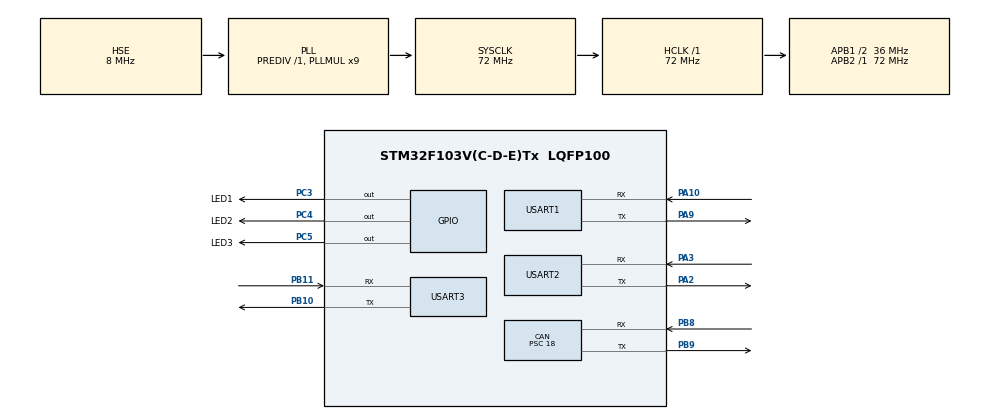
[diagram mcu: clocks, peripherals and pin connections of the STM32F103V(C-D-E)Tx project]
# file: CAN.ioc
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CAN.BS1=CAN_BS1_7TQ
CAN.BS2=CAN_BS2_8TQ
CAN.CalculateTimeBit=8000
CAN.CalculateTimeQuantum=500.0
CAN.Prescaler=18
Dma.Request0=USART2_RX
Dma.USART2_RX.0.Direction=DMA_PERIPH_TO_MEMORY
Dma.USART2_RX.0.Instance=DMA1_Channel6
Dma.USART2_RX.0.MemDataAlignment=DMA_MDATAALIGN_BYTE
Dma.USART2_RX.0.MemInc=DMA_MINC_ENABLE
Dma.USART2_RX.0.Mode=DMA_CIRCULAR
Dma.USART2_RX.0.PeriphDataAlignment=DMA_PDATAALIGN_BYTE
Dma.USART2_RX.0.PeriphInc=DMA_PINC_DISABLE
Dma.USART2_RX.0.Priority=DMA_PRIORITY_LOW
FREERTOS.Tasks01=Task0,0,256,Func_Task0,Default,NULL,Dynamic,NULL,NULL;Task1,0,256,Func_Task1,Default,NULL,Dynamic,NULL,NULL
Mcu.Family=STM32F1
Mcu.Name=STM32F103V(C-D-E)Tx
Mcu.Package=LQFP100
NVIC.DMA1_Channel6_IRQn=true\:5\:0\:false\:true\:true\:4\:true\:false
NVIC.PriorityGroup=NVIC_PRIORITYGROUP_4
NVIC.TIM4_IRQn=true\:0\:0\:false\:false\:true\:false\:false
NVIC.TimeBase=TIM4_IRQn
NVIC.TimeBaseIP=TIM4
NVIC.USART1_IRQn=true\:6\:0\:true\:true\:true\:1\:true\:true
NVIC.USART2_IRQn=true\:5\:0\:true\:true\:true\:2\:true\:true
NVIC.USART3_IRQn=true\:7\:0\:true\:true\:true\:3\:true\:true
NVIC.USB_LP_CAN1_RX0_IRQn=true\:5\:0\:false\:false\:true\:true\:true
OSC_IN.Mode=HSE-External-Oscillator
OSC_IN.Signal=RCC_OSC_IN
OSC_OUT.Mode=HSE-External-Oscillator
OSC_OUT.Signal=RCC_OSC_OUT
PA10.Mode=Asynchronous
PA10.Signal=USART1_RX
PA13.Mode=Serial_Wire
PA13.Signal=SYS_JTMS-SWDIO
PA14.Mode=Serial_Wire
PA14.Signal=SYS_JTCK-SWCLK
PA2.Mode=Asynchronous
PA2.Signal=USART2_TX
PA3.Mode=Asynchronous
PA3.Signal=USART2_RX
PA9.Mode=Asynchronous
PA9.Signal=USART1_TX
PB10.Mode=Asynchronous
PB10.Signal=USART3_TX
PB11.Mode=Asynchronous
PB11.Signal=USART3_RX
PB8.Mode=Master
PB8.Signal=CAN_RX
PB9.Mode=Master
PB9.Signal=CAN_TX
PC3.GPIO_Label=LED1
PC3.Signal=GPIO_Output
PC4.GPIO_Label=LED2
PC4.Signal=GPIO_Output
PC5.GPIO_Label=LED3
PC5.Signal=GPIO_Output
ProjectManager.HeapSize=0x200
ProjectManager.StackSize=0x400
ProjectManager.TargetToolchain=Makefile
RCC.AHBFreq_Value=72000000
RCC.APB1CLKDivider=RCC_HCLK_DIV2
RCC.APB1Freq_Value=36000000
RCC.APB1TimFreq_Value=72000000
RCC.APB2Freq_Value=72000000
RCC.APB2TimFreq_Value=72000000
RCC.HCLKFreq_Value=72000000
RCC.PLLMUL=RCC_PLL_MUL9
RCC.PLLSourceVirtual=RCC_PLLSOURCE_HSE
RCC.SYSCLKFreq_VALUE=72000000
RCC.SYSCLKSource=RCC_SYSCLKSOURCE_PLLCLK
RCC.USBFreq_Value=72000000
USART1.VirtualMode=VM_ASYNC
USART2.VirtualMode=VM_ASYNC
USART3.VirtualMode=VM_ASYNC
VP_FREERTOS_VS_ENABLE.Mode=Enabled
VP_SYS_VS_tim4.Mode=TIM4
board=custom

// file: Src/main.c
/**
  ******************************************************************************
  * @file           : main.c
  * @brief          : Main program body
  ******************************************************************************
  * This notice applies to any and all portions of this file
  * that are not between comment pairs USER CODE BEGIN and
  * USER CODE END. Other portions of this file, whether
  * inserted by the user or by software development tools
  * are owned by their respective copyright owners.
  *
  * Copyright (c) 2019 STMicroelectronics International N.V.
  * All rights reserved.
  *
  * Redistribution and use in source and binary forms, with or without
  * modification, are permitted, provided that the following conditions are met:
  *
  * 1. Redistribution of source code must retain the above copyright notice,
  *    this list of conditions and the following disclaimer.
  * 2. Redistributions in binary form must reproduce the above copyright notice,
  *    this list of conditions and the following disclaimer in the documentation
  *    and/or other materials provided with the distribution.
  * 3. Neither the name of STMicroelectronics nor the names of other
  *    contributors to this software may be used to endorse or promote products
  *    derived from this software without specific written permission.
  * 4. This software, including modifications and/or derivative works of this
  *    software, must execute solely and exclusively on microcontroller or
  *    microprocessor devices manufactured by or for STMicroelectronics.
  * 5. Redistribution and use of this software other than as permitted under
  *    this license is void and will automatically terminate your rights under
  *    this license.
  *
  * THIS SOFTWARE IS PROVIDED BY STMICROELECTRONICS AND CONTRIBUTORS "AS IS"
  * AND ANY EXPRESS, IMPLIED OR STATUTORY WARRANTIES, INCLUDING, BUT NOT
  * LIMITED TO, THE IMPLIED WARRANTIES OF MERCHANTABILITY, FITNESS FOR A
  * PARTICULAR PURPOSE AND NON-INFRINGEMENT OF THIRD PARTY INTELLECTUAL PROPERTY
  * RIGHTS ARE DISCLAIMED TO THE FULLEST EXTENT PERMITTED BY LAW. IN NO EVENT
  * SHALL STMICROELECTRONICS OR CONTRIBUTORS BE LIABLE FOR ANY DIRECT, INDIRECT,
  * INCIDENTAL, SPECIAL, EXEMPLARY, OR CONSEQUENTIAL DAMAGES (INCLUDING, BUT NOT
  * LIMITED TO, PROCUREMENT OF SUBSTITUTE GOODS OR SERVICES; LOSS OF USE, DATA,
  * OR PROFITS; OR BUSINESS INTERRUPTION) HOWEVER CAUSED AND ON ANY THEORY OF
  * LIABILITY, WHETHER IN CONTRACT, STRICT LIABILITY, OR TORT (INCLUDING
  * NEGLIGENCE OR OTHERWISE) ARISING IN ANY WAY OUT OF THE USE OF THIS SOFTWARE,
  * EVEN IF ADVISED OF THE POSSIBILITY OF SUCH DAMAGE.
  *
  ******************************************************************************
  */
#include "main.h"
#include "stm32f1xx_hal.h"
#include "cmsis_os.h"

CAN_HandleTypeDef hcan;

UART_HandleTypeDef huart1;
UART_HandleTypeDef huart2;
UART_HandleTypeDef huart3;
DMA_HandleTypeDef hdma_usart2_rx;

osThreadId Task0Handle;
osThreadId Task1Handle;

/* USER CODE BEGIN PV */
/* Private variables ---------------------------------------------------------*/
CAN_FilterConfTypeDef  sFliterConfig;
CanTxMsgTypeDef TxMessage;
CanRxMsgTypeDef RxMessage;

uint8_t aRxBuffer1[1];
uint8_t aRxBuffer2[1];
uint8_t aRxBuffer3[1];

uint8_t aRxBuffer2_Data[4];
uint8_t aRxBuffer2_Data_flag = 0;
uint8_t aRxBuffer2_Data_Index = 0;

#define BUFFERSIZE 255
uint8_t ReceiveBuff[BUFFERSIZE];         //接收缓冲区
uint8_t recv_end_flag = 0,Rx_len;        //接收完成中断，接收到字符长度
/* USER CODE END PV */

void SystemClock_Config(void);
static void MX_GPIO_Init(void);
static void MX_DMA_Init(void);
static void MX_CAN_Init(void);
static void MX_USART1_UART_Init(void);
static void MX_USART2_UART_Init(void);
static void MX_USART3_UART_Init(void);
void Func_Task0(void const * argument);
void Func_Task1(void const * argument);
static void MX_NVIC_Init(void);

/* USER CODE BEGIN PFP */
/* Private function prototypes -----------------------------------------------*/
void uartdamget(void);
/* USER CODE END PFP */

int main(void)
{

  /* MCU Configuration----------------------------------------------------------*/

  /* Reset of all peripherals, Initializes the Flash interface and the Systick. */
  HAL_Init();

  /* Configure the system clock */
  SystemClock_Config();

  /* Initialize all configured peripherals */
  MX_GPIO_Init();
  MX_DMA_Init();
  MX_CAN_Init();
  MX_USART1_UART_Init();
  MX_USART2_UART_Init();
  MX_USART3_UART_Init();

  /* Initialize interrupts */
  MX_NVIC_Init();
  /* USER CODE BEGIN 2 */
  HAL_UART_Transmit(&huart3,"DMA\r\n",5,10);
  /*        使能串口2 IDLE中断        */
  __HAL_UART_ENABLE_IT(&huart2, UART_IT_IDLE);
  /* USER CODE END 2 */

  /* Create the thread(s) */
  /* definition and creation of Task0 */
  osThreadDef(Task0, Func_Task0, osPriorityNormal, 0, 256);
  Task0Handle = osThreadCreate(osThread(Task0), NULL);

  /* definition and creation of Task1 */
  osThreadDef(Task1, Func_Task1, osPriorityNormal, 0, 256);
  Task1Handle = osThreadCreate(osThread(Task1), NULL);

  /* Start scheduler */
  osKernelStart();

  /* We should never get here as control is now taken by the scheduler */

  /* Infinite loop */
  while (1)
  {

  }

}

void SystemClock_Config(void)
{

  RCC_OscInitTypeDef RCC_OscInitStruct;
  RCC_ClkInitTypeDef RCC_ClkInitStruct;

    /**Initializes the CPU, AHB and APB busses clocks
    */
  RCC_OscInitStruct.OscillatorType = RCC_OSCILLATORTYPE_HSE;
  RCC_OscInitStruct.HSEState = RCC_HSE_ON;
  RCC_OscInitStruct.HSEPredivValue = RCC_HSE_PREDIV_DIV1;
  RCC_OscInitStruct.HSIState = RCC_HSI_ON;
  RCC_OscInitStruct.PLL.PLLState = RCC_PLL_ON;
  RCC_OscInitStruct.PLL.PLLSource = RCC_PLLSOURCE_HSE;
  RCC_OscInitStruct.PLL.PLLMUL = RCC_PLL_MUL9;
  if (HAL_RCC_OscConfig(&RCC_OscInitStruct) != HAL_OK)
  {
    _Error_Handler(__FILE__, __LINE__);
  }

    /**Initializes the CPU, AHB and APB busses clocks
    */
  RCC_ClkInitStruct.ClockType = RCC_CLOCKTYPE_HCLK|RCC_CLOCKTYPE_SYSCLK
                              |RCC_CLOCKTYPE_PCLK1|RCC_CLOCKTYPE_PCLK2;
  RCC_ClkInitStruct.SYSCLKSource = RCC_SYSCLKSOURCE_PLLCLK;
  RCC_ClkInitStruct.AHBCLKDivider = RCC_SYSCLK_DIV1;
  RCC_ClkInitStruct.APB1CLKDivider = RCC_HCLK_DIV2;
  RCC_ClkInitStruct.APB2CLKDivider = RCC_HCLK_DIV1;

  if (HAL_RCC_ClockConfig(&RCC_ClkInitStruct, FLASH_LATENCY_2) != HAL_OK)
  {
    _Error_Handler(__FILE__, __LINE__);
  }

    /**Configure the Systick interrupt time
    */
  HAL_SYSTICK_Config(HAL_RCC_GetHCLKFreq()/1000);

    /**Configure the Systick
    */
  HAL_SYSTICK_CLKSourceConfig(SYSTICK_CLKSOURCE_HCLK);

  /* SysTick_IRQn interrupt configuration */
  HAL_NVIC_SetPriority(SysTick_IRQn, 15, 0);
}

/**
  * @brief NVIC Configuration.
  * @retval None
  */
static void MX_NVIC_Init(void)
{
  /* USART1_IRQn interrupt configuration */
  HAL_NVIC_SetPriority(USART1_IRQn, 6, 0);
  HAL_NVIC_EnableIRQ(USART1_IRQn);
  /* USART2_IRQn interrupt configuration */
  HAL_NVIC_SetPriority(USART2_IRQn, 5, 0);
  HAL_NVIC_EnableIRQ(USART2_IRQn);
  /* USART3_IRQn interrupt configuration */
  HAL_NVIC_SetPriority(USART3_IRQn, 7, 0);
  HAL_NVIC_EnableIRQ(USART3_IRQn);
  /* DMA1_Channel6_IRQn interrupt configuration */
  HAL_NVIC_SetPriority(DMA1_Channel6_IRQn, 5, 0);
  HAL_NVIC_EnableIRQ(DMA1_Channel6_IRQn);
}

/* CAN init function */
static void MX_CAN_Init(void)
{

  hcan.Instance = CAN1;
  hcan.Init.Prescaler = 18;
  hcan.Init.Mode = CAN_MODE_NORMAL;
  hcan.Init.SJW = CAN_SJW_1TQ;
  hcan.Init.BS1 = CAN_BS1_7TQ;
  hcan.Init.BS2 = CAN_BS2_8TQ;
  hcan.Init.TTCM = DISABLE;
  hcan.Init.ABOM = DISABLE;
  hcan.Init.AWUM = DISABLE;
  hcan.Init.NART = DISABLE;
  hcan.Init.RFLM = DISABLE;
  hcan.Init.TXFP = DISABLE;
  if (HAL_CAN_Init(&hcan) != HAL_OK)
  {
    _Error_Handler(__FILE__, __LINE__);
  }

}

/* USART1 init function */
static void MX_USART1_UART_Init(void)
{

  huart1.Instance = USART1;
  huart1.Init.BaudRate = 115200;
  huart1.Init.WordLength = UART_WORDLENGTH_8B;
  huart1.Init.StopBits = UART_STOPBITS_1;
  huart1.Init.Parity = UART_PARITY_NONE;
  huart1.Init.Mode = UART_MODE_TX_RX;
  huart1.Init.HwFlowCtl = UART_HWCONTROL_NONE;
  huart1.Init.OverSampling = UART_OVERSAMPLING_16;
  if (HAL_UART_Init(&huart1) != HAL_OK)
  {
    _Error_Handler(__FILE__, __LINE__);
  }

}

/* USART2 init function */
static void MX_USART2_UART_Init(void)
{

  huart2.Instance = USART2;
  huart2.Init.BaudRate = 115200;
  huart2.Init.WordLength = UART_WORDLENGTH_8B;
  huart2.Init.StopBits = UART_STOPBITS_1;
  huart2.Init.Parity = UART_PARITY_NONE;
  huart2.Init.Mode = UART_MODE_TX_RX;
  huart2.Init.HwFlowCtl = UART_HWCONTROL_NONE;
  huart2.Init.OverSampling = UART_OVERSAMPLING_16;
  if (HAL_UART_Init(&huart2) != HAL_OK)
  {
    _Error_Handler(__FILE__, __LINE__);
  }

}

/* USART3 init function */
static void MX_USART3_UART_Init(void)
{

  huart3.Instance = USART3;
  huart3.Init.BaudRate = 115200;
  huart3.Init.WordLength = UART_WORDLENGTH_8B;
  huart3.Init.StopBits = UART_STOPBITS_1;
  huart3.Init.Parity = UART_PARITY_NONE;
  huart3.Init.Mode = UART_MODE_TX_RX;
  huart3.Init.HwFlowCtl = UART_HWCONTROL_NONE;
  huart3.Init.OverSampling = UART_OVERSAMPLING_16;
  if (HAL_UART_Init(&huart3) != HAL_OK)
  {
    _Error_Handler(__FILE__, __LINE__);
  }

}

static void MX_DMA_Init(void)
{
  /* DMA controller clock enable */
  __HAL_RCC_DMA1_CLK_ENABLE();

}

/** Configure pins as
        * Analog
        * Input
        * Output
        * EVENT_OUT
        * EXTI
*/
static void MX_GPIO_Init(void)
{

  GPIO_InitTypeDef GPIO_InitStruct;

  /* GPIO Ports Clock Enable */
  __HAL_RCC_GPIOC_CLK_ENABLE();
  __HAL_RCC_GPIOA_CLK_ENABLE();
  __HAL_RCC_GPIOB_CLK_ENABLE();

  /*Configure GPIO pin Output Level */
  HAL_GPIO_WritePin(GPIOC, LED1_Pin|LED2_Pin|LED3_Pin, GPIO_PIN_RESET);

  /*Configure GPIO pins : LED1_Pin LED2_Pin LED3_Pin */
  GPIO_InitStruct.Pin = LED1_Pin|LED2_Pin|LED3_Pin;
  GPIO_InitStruct.Mode = GPIO_MODE_OUTPUT_PP;
  GPIO_InitStruct.Pull = GPIO_NOPULL;
  GPIO_InitStruct.Speed = GPIO_SPEED_FREQ_LOW;
  HAL_GPIO_Init(GPIOC, &GPIO_InitStruct);

}

/* USER CODE BEGIN 4 */
/*
void HAL_UART_RxCpltCallback(UART_HandleTypeDef *huart)
{
  if(huart->Instance == USART2)
  {
	HAL_UART_Transmit(&huart3,aRxBuffer2,1,100);	// 接收到数据马上使用串口3发送出去
    // aRxBuffer2_Data[aRxBuffer2_Data_Index] = aRxBuffer2[1];
    // aRxBuffer2_Data_Index++;
    // if (aRxBuffer2_Data_Index == 3)
    // {
    //   aRxBuffer2_Data_flag = 1;
    //   aRxBuffer2_Data_Index = 0;
    // }
	HAL_UART_Receive_IT(&huart2,aRxBuffer2,1);		// 重新使能串口2接收中断
  }
}
*/

void uartdamget(void)
{
  uint8_t temp[1];
  // uint8_t temp_before[1];
  HAL_GPIO_WritePin(LED1_GPIO_Port, LED1_Pin, GPIO_PIN_RESET);

  if(recv_end_flag ==1)
  {

 	for(int i=0;i<Rx_len;i++)
	{
	  /*打印接收到的数据*/
	  sprintf(temp,"%c",ReceiveBuff[i]);
      HAL_UART_Transmit(&huart3,temp,1,10);

      // hcan.pTxMsg -> Data[0] = 0xEF;
	  // hcan.pTxMsg -> Data[1] = 0xFE;    // 替换CAN的发送数据，暂时用来测试
      // HAL_CAN_Transmit(&hcan, 10);      // 用CAN口把数据发出去
	}

    if (ReceiveBuff[Rx_len-1] == 'T' && ReceiveBuff[Rx_len - 2] == 'A' && ReceiveBuff[Rx_len - 3] == 'D' && ReceiveBuff[Rx_len - 4] == 'Y' && ReceiveBuff[Rx_len - 5] == 'M')   // 用最后一位向前数进行判断会好一些
    {
      HAL_UART_Transmit(&huart3,"\r\nCorrect",9,10);
      hcan.pTxMsg -> Data[0] = ReceiveBuff[Rx_len - 7] - 0x30;// ASC ii数字转制数字
	  hcan.pTxMsg -> Data[1] = ReceiveBuff[Rx_len - 6] - 0x30;    // 替换CAN的发送数据，暂时用来测试
      HAL_CAN_Transmit(&hcan, 10);      // 用CAN口把数据发出去,还是得传两次那边才能收到
      HAL_CAN_Transmit(&hcan, 10);
    }

	HAL_UART_Transmit(&huart3,"\r\n",2,10);
	/*清空接收缓存区*/
    for(int i = 0; i < Rx_len ; i++)
	  ReceiveBuff[i]=0;
	/*接收数据长度清零*/
	Rx_len=0;
	recv_end_flag=0;
  }
  /*开启下一次接收*/
  HAL_UART_Receive_DMA(&huart2,(uint8_t*)ReceiveBuff,BUFFERSIZE);    // 注意这里一定要重新注册中断

  HAL_GPIO_WritePin(LED1_GPIO_Port, LED1_Pin, GPIO_PIN_SET);
}
/* USER CODE END 4 */

/* Func_Task0 function */
void Func_Task0(void const * argument)
{

  /* USER CODE BEGIN 5 */
  hcan.pTxMsg = &TxMessage;    // hc.pTxMsg 按 TxMessage格式

  HAL_UART_Transmit(&huart1,"\r\nFunc_Task0\r\n",14,10);

  hcan.pTxMsg -> ExtId = 0x1314;
  hcan.pTxMsg -> RTR = CAN_RTR_DATA;
  hcan.pTxMsg -> IDE = CAN_ID_EXT;
  hcan.pTxMsg -> DLC = 2;
  hcan.pTxMsg -> Data[0] = 0xAB;
  hcan.pTxMsg -> Data[1] = 0xCD;

  // 为什么传2次那边CAN_rx才能收到
  HAL_CAN_Transmit(&hcan, 10);  // 注意第二个参数是timeout，与常规库函数不同
  HAL_CAN_Transmit(&hcan, 10);
  /* Infinite loop */
  for(;;)
  {
    // osDelay(1000);
    // HAL_GPIO_WritePin(LED1_GPIO_Port, LED1_Pin, GPIO_PIN_RESET);
    // HAL_CAN_Transmit(&hcan, 10);

    // osDelay(1000);
    // HAL_GPIO_WritePin(LED1_GPIO_Port, LED1_Pin, GPIO_PIN_SET);
    // HAL_CAN_Transmit(&hcan, 10);

    uartdamget();
  }
  /* USER CODE END 5 */
}

/* Func_Task1 function */
void Func_Task1(void const * argument)
{
  /* USER CODE BEGIN Func_Task1 */
  HAL_UART_Receive_IT(&huart2,aRxBuffer2,1);
  HAL_UART_Transmit(&huart3,"\r\nFunc_Task1\r\n",14,10);

  HAL_UART_Transmit(&huart2,"AT+CWMODE=2\r\n",13,10);
  osDelay(5000);
  HAL_UART_Transmit(&huart2,"AT+RST\r\n",8,10);
  osDelay(10000);
  HAL_UART_Transmit(&huart2,"AT+CWSAP=\"PYY_8266\",\"12345678\",6,4\r\n",36,10);
  osDelay(50);
  HAL_UART_Transmit(&huart2,"AT+CIPMUX=1\r\n",13,10);
  osDelay(50);
  HAL_UART_Transmit(&huart2,"AT+CIPSERVER=1,333\r\n",20,10);
  osDelay(10000);
  HAL_UART_Transmit(&huart2,"AT+CIFSR\r\n",10,10);
  osDelay(50);

  HAL_UART_Transmit(&huart3,"\r\nFINISHED\r\n",12,10);
  /* Infinite loop */
  for(;;)
  {
    // osDelay(1000);
    // if (aRxBuffer2_Data_flag == 1)
    //   HAL_UART_Transmit(&huart3,aRxBuffer2_Data,4,10);
    // HAL_UART_Transmit(&huart3,"\r\nFunc_Task1_Loop\r\n",19,10);
  }
  /* USER CODE END Func_Task1 */
}

void HAL_TIM_PeriodElapsedCallback(TIM_HandleTypeDef *htim)
{
  if (htim->Instance == TIM4) {
    HAL_IncTick();
  }
}

void _Error_Handler(char *file, int line)
{
  while(1)
  {
  }
}

/************************ (C) COPYRIGHT STMicroelectronics *****END OF FILE****/
